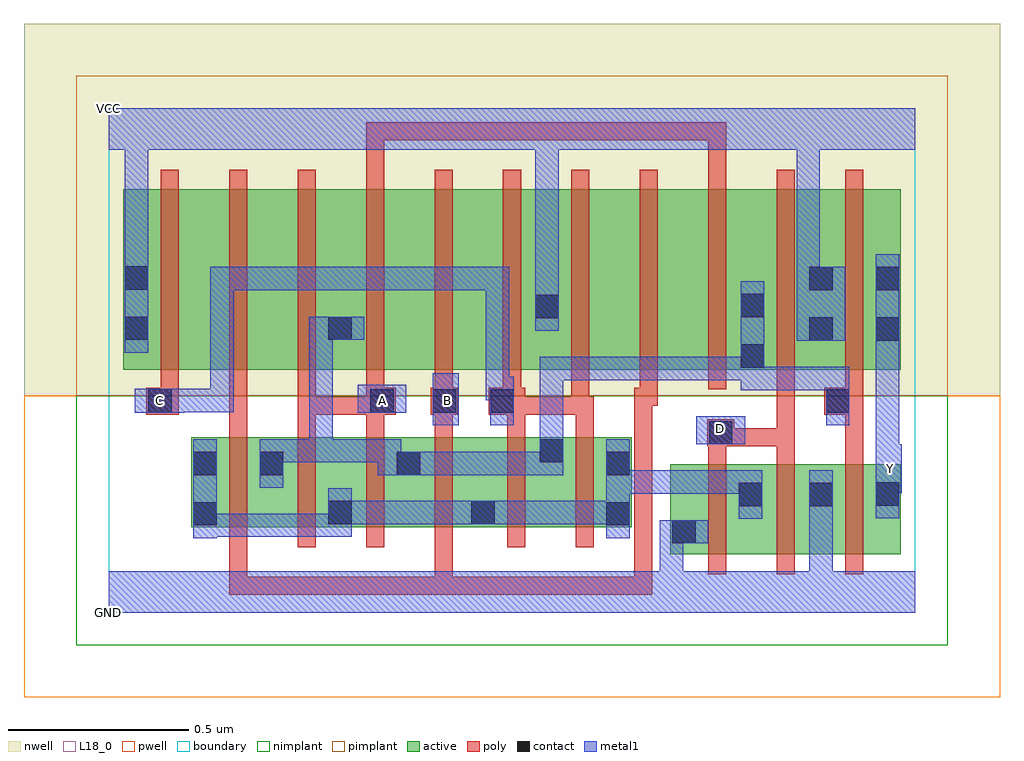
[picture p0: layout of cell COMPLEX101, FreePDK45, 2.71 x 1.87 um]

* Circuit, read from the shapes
.subckt COMPLEX101 A B C D GND VCC Y
M1 n1 B n2 VSUBS nfet w=0.25u l=0.05u m=2
M2 n2 A n1 VSUBS nfet w=0.25u l=0.05u m=2
M3 n1 C n2 VSUBS nfet w=0.25u l=0.05u m=2
M4 n2 D GND VSUBS nfet w=0.25u l=0.05u m=2
M5 Y n1 GND VSUBS nfet w=0.25u l=0.05u
M6 n3 C VCC n4 pfet w=0.5u l=0.05u
M7 n5 B n3 n4 pfet w=0.5u l=0.05u
M8 n1 A n5 n4 pfet w=0.5u l=0.05u
M9 n6 A n1 n4 pfet w=0.5u l=0.05u
M10 n7 B n6 n4 pfet w=0.5u l=0.05u
M11 VCC C n7 n4 pfet w=0.5u l=0.05u
M12 n8 C VCC n4 pfet w=0.5u l=0.05u
M13 n9 B n8 n4 pfet w=0.5u l=0.05u
M14 n1 A n9 n4 pfet w=0.5u l=0.05u
M15 VCC D n1 n4 pfet w=0.5u l=0.05u
M16 Y n1 VCC n4 pfet w=0.5u l=0.05u
.ends

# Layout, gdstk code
import gdstk
lib = gdstk.Library(unit=1e-6, precision=1e-09)
def R(c, l, rs):  # rectangles x0, y0, x1, y1
    for r in rs: c.add(gdstk.rectangle(r[:2], r[2:], *l))
def A(c, l, x, y, w, h, nx, ny, dx, dy):  # array of equal rectangles
    R(c, l, [(x+i*dx, y+j*dy, x+i*dx+w, y+j*dy+h) for i in range(nx) for j in range(ny)])
active = (1, 0)
pwell = (2, 0)
nwell = (3, 0)
nimplant = (4, 0)
pimplant = (5, 0)
poly = (9, 0)
contact = (10, 0)
metal1 = (11, 0)
L18_0 = (18, 0)
boundary = (235, 0)

complex101 = lib.new_cell('COMPLEX101')
A(complex101, active, 0.265, 0.675, 0.19, 0.5, 3, 1, 0.57, 0)
R(complex101, active, [(1.56,0.162,1.82,0.412), (1.56,0.162,1.635,0.412), (1.745,0.162,2.015,0.412), (1.94,0.162,2.2,0.412), (1.94,0.162,2.015,0.365), (1.745,0.2,1.82,0.365), (2.125,0.2,2.2,0.412), (0.23,0.237,0.49,0.487), (0.23,0.237,0.305,0.487), (0.415,0.237,0.68,0.487), (0.605,0.237,0.87,0.487), (0.605,0.237,0.68,0.467), (0.795,0.237,1.077,0.487), (1.002,0.237,1.267,0.487), (1.192,0.237,1.452,0.487), (1.377,0.237,1.452,0.487), (1.002,0.24,1.077,0.405), (0.415,0.297,0.49,0.452), (0.795,0.297,0.87,0.452), (1.192,0.297,1.267,0.487), (0.04,0.675,0.115,1.175), (0.04,0.675,0.265,1.175), (0.455,0.675,0.68,1.175), (0.605,0.675,0.835,1.175), (0.605,0.675,0.68,1.07), (1.025,0.675,1.255,1.175), (1.18,0.675,1.255,1.175), (1.18,0.675,1.405,1.175), (1.595,0.675,1.825,1.175), (1.75,0.675,1.825,1.157), (1.75,0.675,2.015,1.175), (1.94,0.675,2.2,1.175), (1.94,0.675,2.015,1.175), (2.125,0.675,2.2,1.157)])
R(complex101, pwell, [(-0.235,-0.235,2.475,0.602)])
R(complex101, nwell, [(-0.235,0.602,2.475,1.635)])
R(complex101, nimplant, [(-0.09,-0.09,2.33,0.602)])
R(complex101, pimplant, [(-0.09,0.602,2.33,1.49)])
A(complex101, poly, 1.665, 0.107, 0.05, 0.36, 3, 1, 0.19, 0)
A(complex101, poly, 0.335, 0.182, 0.05, 0.36, 4, 1, 0.19, 0)
A(complex101, poly, 0.525, 0.492, 0.05, 0.108, 3, 1, 0.19, 0)
A(complex101, poly, 0.715, 0.575, 0.05, 0.095, 3, 1, 0.19, 0)
A(complex101, poly, 0.145, 0.62, 0.05, 0.61, 11, 1, 0.19, 0)
R(complex101, poly, [(0.335,0.05,0.385,0.1), (0.335,0.05,0.385,0.1), (0.335,0.05,0.385,0.1), (0.335,0.05,0.385,0.232), (0.335,0.05,0.632,0.1), (0.582,0.05,0.632,0.1), (0.582,0.05,0.632,0.1), (0.582,0.05,0.632,0.1), (0.582,0.05,0.765,0.1), (0.715,0.05,0.765,0.1), (0.715,0.05,0.765,0.1), (0.715,0.05,0.765,0.1), (0.715,0.05,0.955,0.1), (0.905,0.05,0.955,0.1), (0.905,0.05,0.955,0.1), (0.905,0.05,0.955,0.1), (0.905,0.05,0.955,0.232), (0.905,0.05,1.087,0.1), (1.037,0.05,1.087,0.1), (1.037,0.05,1.29,0.1), (1.24,0.05,1.29,0.1), (1.24,0.05,1.29,0.1), (1.24,0.05,1.29,0.1), (1.24,0.05,1.51,0.1), (1.46,0.05,1.51,0.1), (1.46,0.05,1.51,0.1), (1.46,0.05,1.51,0.1), (1.46,0.05,1.51,0.1), (1.46,0.05,1.51,0.1), (1.46,0.05,1.51,0.625), (1.107,0.182,1.157,0.542), (1.297,0.182,1.347,0.542), (1.665,0.417,1.715,0.512), (1.855,0.417,1.905,0.512), (2.045,0.417,2.095,0.6), (1.662,0.462,1.737,0.537), (1.687,0.462,1.905,0.512), (1.855,0.462,1.905,0.67), (1.855,0.462,1.905,0.512), (1.855,0.462,1.905,0.512), (1.855,0.462,1.905,0.512), (0.335,0.492,0.385,0.587), (1.107,0.492,1.157,0.6), (1.297,0.492,1.347,0.6), (0.335,0.537,0.385,0.587), (0.335,0.537,0.385,0.67), (0.105,0.55,0.195,0.625), (0.525,0.55,0.575,0.6), (0.525,0.55,0.575,0.6), (0.525,0.55,0.575,0.6), (0.525,0.55,0.575,0.67), (0.525,0.55,0.765,0.6), (0.715,0.55,0.797,0.625), (0.895,0.55,0.97,0.625), (1.055,0.55,1.157,0.625), (1.107,0.55,1.335,0.6), (1.285,0.55,1.335,0.6), (1.285,0.55,1.335,0.6), (1.285,0.55,1.335,0.67), (1.285,0.55,1.347,0.6), (1.987,0.55,2.095,0.625), (0.145,0.575,0.195,0.67), (1.46,0.575,1.51,0.625), (1.46,0.575,1.51,0.625), (1.46,0.575,1.525,0.625), (1.475,0.575,1.525,0.67), (2.045,0.575,2.095,0.67), (0.715,1.18,0.765,1.362), (1.665,1.18,1.715,1.362), (0.715,1.312,0.765,1.362), (0.715,1.312,0.765,1.362), (0.715,1.312,0.765,1.362), (0.715,1.312,0.935,1.362), (0.885,1.312,0.935,1.362), (0.885,1.312,0.935,1.362), (0.885,1.312,0.935,1.362), (0.885,1.312,1.087,1.362), (1.037,1.312,1.087,1.362), (1.037,1.312,1.335,1.362), (1.285,1.312,1.335,1.362), (1.285,1.312,1.335,1.362), (1.285,1.312,1.335,1.362), (1.285,1.312,1.467,1.362), (1.417,1.312,1.467,1.362), (1.417,1.312,1.467,1.362), (1.417,1.312,1.467,1.362), (1.417,1.312,1.715,1.362), (1.665,1.312,1.715,1.362), (1.665,1.312,1.715,1.362), (1.665,1.312,1.715,1.362)])
R(complex101, contact, [(1.565,0.192,1.63,0.257), (0.235,0.242,0.3,0.307), (1.382,0.242,1.447,0.307), (0.61,0.245,0.675,0.31), (1.007,0.245,1.072,0.31), (1.75,0.295,1.815,0.36), (1.945,0.295,2.01,0.36), (2.13,0.297,2.195,0.362), (0.235,0.382,0.3,0.447), (0.42,0.382,0.485,0.447), (0.8,0.382,0.865,0.447), (1.382,0.382,1.447,0.447), (1.197,0.417,1.262,0.482), (1.667,0.467,1.732,0.532), (0.11,0.555,0.175,0.62), (0.727,0.555,0.792,0.62), (0.9,0.555,0.965,0.62), (1.06,0.555,1.125,0.62), (1.992,0.555,2.057,0.62), (1.755,0.68,1.82,0.745), (1.945,0.755,2.01,0.82), (2.13,0.755,2.195,0.82), (0.045,0.757,0.11,0.822), (0.61,0.757,0.675,0.822), (1.185,0.817,1.25,0.882), (1.755,0.82,1.82,0.885), (1.945,0.895,2.01,0.96), (2.13,0.895,2.195,0.96), (0.045,0.897,0.11,0.962)])
R(complex101, metal1, [(0,0,2.24,0.115), (1.53,0.05,1.595,0.257), (1.945,0.05,2.01,0.325), (1.945,0.05,2.01,0.115), (1.945,0.05,2.01,0.115), (1.945,0.05,2.01,0.115), (1.945,0.05,2.01,0.115), (1.53,0.192,1.595,0.257), (1.53,0.192,1.595,0.257), (1.53,0.192,1.595,0.257), (1.53,0.192,1.595,0.257), (1.53,0.192,1.665,0.257), (0.235,0.207,0.3,0.482), (1.382,0.207,1.447,0.482), (0.235,0.21,0.347,0.275), (0.282,0.21,0.347,0.275), (0.282,0.21,0.485,0.275), (0.42,0.21,0.485,0.275), (0.42,0.21,0.485,0.275), (0.42,0.21,0.485,0.275), (0.42,0.21,0.675,0.275), (0.61,0.21,0.675,0.345), (0.61,0.245,0.675,0.31), (0.61,0.245,0.675,0.31), (0.61,0.245,0.9,0.31), (0.835,0.245,0.9,0.31), (0.835,0.245,0.972,0.31), (0.907,0.245,0.972,0.31), (0.907,0.245,1.037,0.31), (0.972,0.245,1.107,0.31), (1.042,0.245,1.11,0.31), (1.045,0.245,1.11,0.31), (1.045,0.245,1.31,0.31), (1.245,0.245,1.31,0.31), (1.245,0.245,1.31,0.31), (1.245,0.245,1.31,0.31), (1.245,0.245,1.447,0.31), (1.75,0.26,1.815,0.395), (1.945,0.26,2.01,0.395), (2.13,0.262,2.195,0.397), (1.382,0.33,1.447,0.395), (1.382,0.33,1.447,0.395), (1.382,0.33,1.677,0.395), (1.382,0.33,1.447,0.482), (1.612,0.33,1.677,0.395), (1.612,0.33,1.677,0.395), (1.612,0.33,1.677,0.395), (1.612,0.33,1.815,0.395), (2.13,0.332,2.195,0.397), (2.13,0.332,2.202,0.467), (0.42,0.347,0.485,0.482), (0.747,0.382,0.83,0.447), (0.747,0.382,0.812,0.482), (0.765,0.382,0.9,0.447), (0.835,0.382,0.972,0.447), (0.907,0.382,0.972,0.447), (0.907,0.382,1.112,0.447), (1.047,0.382,1.112,0.447), (1.047,0.382,1.112,0.447), (1.047,0.382,1.112,0.447), (1.047,0.382,1.262,0.447), (1.197,0.382,1.262,0.517), (2.13,0.402,2.195,0.785), (0.42,0.417,0.485,0.482), (0.42,0.417,0.485,0.482), (0.42,0.417,0.622,0.482), (0.557,0.417,0.622,0.482), (0.557,0.417,0.622,0.482), (0.557,0.417,0.622,0.482), (0.557,0.417,0.812,0.482), (0.557,0.417,0.622,0.822), (1.382,0.417,1.447,0.482), (1.197,0.452,1.262,0.71), (1.632,0.467,1.767,0.545), (0.9,0.52,0.972,0.665), (1.06,0.52,1.125,0.655), (1.992,0.52,2.057,0.655), (0.072,0.555,0.21,0.622), (0.692,0.555,0.827,0.632), (0.145,0.557,0.347,0.622), (0.282,0.557,0.347,0.622), (0.282,0.557,0.347,0.622), (0.282,0.557,0.347,0.622), (0.282,0.557,0.347,0.96), (1.047,0.59,1.112,0.655), (1.047,0.59,1.125,0.655), (1.047,0.59,1.112,0.96), (1.992,0.59,2.057,0.655), (1.992,0.59,2.057,0.655), (1.992,0.59,2.057,0.682), (1.755,0.617,2.057,0.682), (1.755,0.617,1.82,0.71), (1.992,0.617,2.057,0.682), (1.197,0.645,1.262,0.71), (1.197,0.645,1.262,0.71), (1.197,0.645,1.262,0.71), (1.197,0.645,1.262,0.71), (1.197,0.645,1.262,0.71), (1.197,0.645,1.457,0.71), (1.392,0.645,1.457,0.71), (1.392,0.645,1.457,0.71), (1.392,0.645,1.457,0.71), (1.392,0.645,1.677,0.71), (1.612,0.645,1.677,0.71), (1.612,0.645,1.677,0.71), (1.612,0.645,1.677,0.71), (1.612,0.645,1.82,0.71), (1.755,0.645,1.82,0.92), (1.755,0.645,1.82,0.71), (2.13,0.72,2.195,0.995), (0.045,0.722,0.11,0.997), (1.91,0.755,2.045,0.96), (0.557,0.757,0.71,0.822), (1.185,0.782,1.25,0.917), (1.185,0.852,1.25,1.35), (0.282,0.895,0.347,0.96), (0.282,0.895,0.347,0.96), (0.282,0.895,0.347,0.96), (0.282,0.895,0.485,0.96), (0.42,0.895,0.485,0.96), (0.42,0.895,0.485,0.96), (0.42,0.895,0.485,0.96), (0.42,0.895,0.675,0.96), (0.61,0.895,0.675,0.96), (0.61,0.895,0.675,0.96), (0.61,0.895,0.675,0.96), (0.61,0.895,0.847,0.96), (0.782,0.895,0.847,0.96), (0.782,0.895,0.847,0.96), (0.782,0.895,0.847,0.96), (0.782,0.895,0.972,0.96), (0.907,0.895,0.972,0.96), (0.907,0.895,1.112,0.96), (1.047,0.895,1.112,0.96), (1.91,0.895,1.975,0.96), (1.91,0.895,1.975,0.96), (1.91,0.895,1.975,1.35), (0.045,0.932,0.11,0.997), (0.045,0.932,0.11,0.997), (0.045,0.932,0.11,1.35), (0,1.285,2.24,1.4), (1.185,1.285,1.25,1.35), (1.185,1.285,1.25,1.35)])
R(complex101, L18_0, [(0,0,2.24,0.115), (1.53,0.05,1.595,0.257), (1.945,0.05,2.01,0.325), (1.945,0.05,2.01,0.115), (1.945,0.05,2.01,0.115), (1.945,0.05,2.01,0.115), (1.945,0.05,2.01,0.115), (1.53,0.192,1.595,0.257), (1.53,0.192,1.595,0.257), (1.53,0.192,1.595,0.257), (1.53,0.192,1.595,0.257), (1.53,0.192,1.665,0.257), (1.945,0.26,2.01,0.395), (2.13,0.262,2.195,0.397), (2.13,0.332,2.195,0.397), (2.13,0.332,2.202,0.467), (2.137,0.367,2.202,0.432), (2.13,0.402,2.195,0.785), (1.632,0.467,1.767,0.545), (1.667,0.477,1.732,0.542), (0.9,0.52,0.972,0.665), (1.06,0.52,1.125,0.655), (0.072,0.555,0.21,0.622), (0.692,0.555,0.827,0.632), (0.107,0.557,0.172,0.622), (0.145,0.557,0.347,0.622), (0.282,0.557,0.347,0.622), (0.282,0.557,0.347,0.622), (0.282,0.557,0.347,0.622), (0.282,0.557,0.347,0.96), (0.727,0.557,0.792,0.622), (0.907,0.557,0.972,0.622), (1.047,0.59,1.112,0.655), (1.047,0.59,1.112,0.96), (1.047,0.59,1.125,0.655), (2.13,0.72,2.195,0.995), (0.045,0.722,0.11,0.997), (1.91,0.755,2.045,0.96), (1.185,0.782,1.25,0.917), (1.185,0.852,1.25,1.35), (0.282,0.895,0.347,0.96), (0.282,0.895,0.347,0.96), (0.282,0.895,0.347,0.96), (0.282,0.895,0.485,0.96), (0.42,0.895,0.485,0.96), (0.42,0.895,0.485,0.96), (0.42,0.895,0.485,0.96), (0.42,0.895,0.675,0.96), (0.61,0.895,0.675,0.96), (0.61,0.895,0.675,0.96), (0.61,0.895,0.675,0.96), (0.61,0.895,0.847,0.96), (0.782,0.895,0.847,0.96), (0.782,0.895,0.847,0.96), (0.782,0.895,0.847,0.96), (0.782,0.895,0.972,0.96), (0.907,0.895,0.972,0.96), (0.907,0.895,1.112,0.96), (1.047,0.895,1.112,0.96), (1.91,0.895,1.975,0.96), (1.91,0.895,1.975,0.96), (1.91,0.895,1.975,1.35), (0.045,0.932,0.11,0.997), (0.045,0.932,0.11,0.997), (0.045,0.932,0.11,1.35), (0,1.285,2.24,1.4), (1.185,1.285,1.25,1.35), (1.185,1.285,1.25,1.35)])
R(complex101, boundary, [(0,0,2.24,1.4)])
complex101.add(gdstk.Label('A', (0.76,0.59), layer=11, texttype=0))
complex101.add(gdstk.Label('B', (0.94,0.59), layer=11, texttype=0))
complex101.add(gdstk.Label('C', (0.14,0.59), layer=11, texttype=0))
complex101.add(gdstk.Label('D', (1.7,0.51), layer=11, texttype=0))
complex101.add(gdstk.Label('Y', (2.17,0.4), layer=11, texttype=0))
complex101.add(gdstk.Label('VCC', (0,1.4), layer=11, texttype=0))
complex101.add(gdstk.Label('GND', (0,0), layer=11, texttype=0))

lib.write_gds('COMPLEX101.gds')
